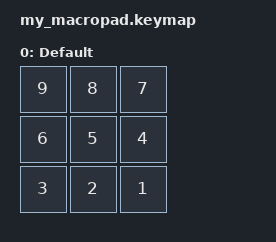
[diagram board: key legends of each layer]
/*
 * Copyright (c) 2024 The ZMK Contributors
 *
 * SPDX-License-Identifier: MIT
 */

#include <behaviors.dtsi>
#include <dt-bindings/zmk/keys.h>

/ {
    combos {
        compatible = "zmk,combos";

        combo_studio_unlock {
            timeout-ms = <100>;
            key-positions = <6 8>;  /* bottom-left + bottom-right */
            bindings = <&studio_unlock>;
        };
    };

    keymap {
        compatible = "zmk,keymap";

        default_layer {
            display-name = "Default";
            bindings = <
                &kp N1  &kp N2  &kp N3
                &kp N4  &kp N5  &kp N6
                &kp N7  &kp N8  &kp N9
            >;
        };
    };
};
